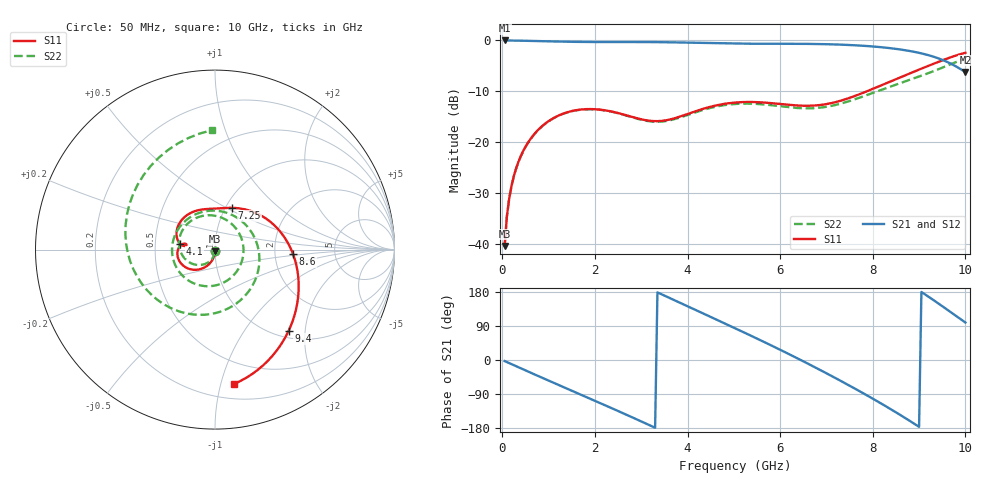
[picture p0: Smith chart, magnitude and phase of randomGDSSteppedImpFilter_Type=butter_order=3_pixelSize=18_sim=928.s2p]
! freq	dB(S11)	phase(S11)	dB(S12)	phase(S12)
!  dB(S21)	phase(S21)	dB(S22)	phase(S22)
!S-par simulation data
#  GHz  S  DB  R 50
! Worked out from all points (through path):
!   200 points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, 50 MHz to 10 GHz, reference 50 ohm
!   highest |S21| = -0.02 dB at 50 MHz (marker M1); lowest = -6.2 dB at 10 GHz (marker M2)
!   group delay of S21, straight-line fit = 167 ps
!   lowest |S11| = -40.4 dB at 50 MHz (marker M3), VSWR 1.02, Z = 50.1 - j0.955 ohm
!   |S11| at or under -10 dB: start of sweep to 7.872 GHz
!   |S22| runs from -40.4 to -3.6 dB; largest |S21 - S12| = 0
!   S11 on the Smith chart (normalised r, x): 50 MHz: 1.00, -0.02; 4.1 GHz: 0.67, +0.04; 7.25 GHz: 1.07, +0.53; 8.6 GHz: 2.53, -0.15; 9.4 GHz: 1.13, -1.64; 10 GHz: 0.32, -1.10
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0.05  -40.38 -84.7  -0.02 -2.8  -0.02 -2.8  -40.41 -85.5
0.1  -34.47 -90.9  -0.02 -5.5  -0.02 -5.5  -34.50 -92.7
0.2  -28.53 -97.7  -0.03 -11.0  -0.03 -11.0  -28.57 -101.1
0.5  -20.91 -113.0  -0.08 -27.4  -0.08 -27.4  -20.95 -121.7
1.15  -15.04 -142.0  -0.22 -62.4  -0.22 -62.4  -15.08 -164.0
1.75  -13.53 -165.5  -0.31 -94.3  -0.31 -94.3  -13.56 155.5
2.2  -13.71 -179.9  -0.33 -118.4  -0.33 -118.4  -13.74 121.9
2.7  -14.76 170.2  -0.32 -145.5  -0.32 -145.5  -14.82 77.9
3.4  -15.84 171.5  -0.35 175.6  -0.35 175.6  -15.97 -0.7
4.1  -14.14 170.7  -0.47 136.2  -0.47 136.2  -14.33 -78.6
4.6  -12.81 159.5  -0.57 108.0  -0.57 108.0  -13.04 -123.6
5.05  -12.19 145.1  -0.63 82.5  -0.63 82.5  -12.47 -160.1
5.95  -12.45 113.1  -0.67 30.0  -0.67 30.0  -12.88 126.8
6.7  -12.81 88.1  -0.70 -15.9  -0.70 -15.9  -13.33 58.9
7.25  -12.00 67.7  -0.82 -51.3  -0.82 -51.3  -12.56 8.5
7.8  -10.26 41.5  -1.06 -88.1  -1.06 -88.1  -10.98 -38.5
8.35  -8.18 11.1  -1.50 -127.0  -1.50 -127.0  -9.18 -85.5
8.6  -7.23 -3.2  -1.79 -145.5  -1.79 -145.5  -8.37 -108.6
9  -5.73 -25.7  -2.45 -176.4  -2.45 -176.4  -7.10 -149.5
9.4  -4.28 -47.9  -3.47 150.6  -3.47 150.6  -5.73 164.3
9.7  -3.27 -64.7  -4.64 124.8  -4.64 124.8  -4.62 127.5
10  -2.43 -81.9  -6.23 98.9  -6.23 98.9  -3.55 91.7
